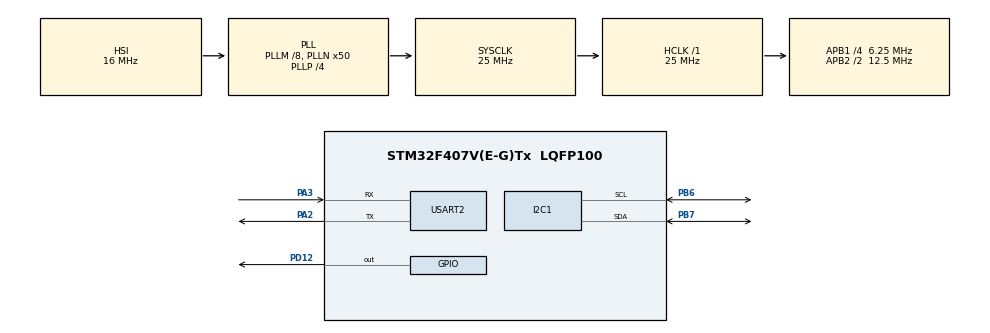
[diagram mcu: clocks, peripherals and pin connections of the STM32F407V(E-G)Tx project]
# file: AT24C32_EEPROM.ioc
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Mcu.Family=STM32F4
Mcu.Name=STM32F407V(E-G)Tx
Mcu.Package=LQFP100
NVIC.PriorityGroup=NVIC_PRIORITYGROUP_0
PA2.Mode=Asynchronous
PA2.Signal=USART2_TX
PA3.Mode=Asynchronous
PA3.Signal=USART2_RX
PB6.Mode=I2C
PB6.Signal=I2C1_SCL
PB7.Mode=I2C
PB7.Signal=I2C1_SDA
PD12.Signal=GPIO_Output
ProjectManager.HeapSize=0x200
ProjectManager.StackSize=0x400
ProjectManager.TargetToolchain=STM32CubeIDE
RCC.48MHZClocksFreq_Value=14285714.285714285
RCC.AHBFreq_Value=25000000
RCC.APB1CLKDivider=RCC_HCLK_DIV4
RCC.APB1Freq_Value=6250000
RCC.APB1TimFreq_Value=12500000
RCC.APB2CLKDivider=RCC_HCLK_DIV2
RCC.APB2Freq_Value=12500000
RCC.APB2TimFreq_Value=25000000
RCC.CortexFreq_Value=25000000
RCC.HCLKFreq_Value=25000000
RCC.HSE_VALUE=8000000
RCC.HSI_VALUE=16000000
RCC.LSE_VALUE=32768
RCC.PLLM=8
RCC.PLLN=50
RCC.PLLP=RCC_PLLP_DIV4
RCC.PLLQ=7
RCC.SYSCLKFreq_VALUE=25000000
RCC.SYSCLKSource=RCC_SYSCLKSOURCE_PLLCLK
RCC.VCOOutputFreq_Value=100000000
USART2.VirtualMode=VM_ASYNC
board=STM32F407G-DISC1

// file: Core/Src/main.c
/* USER CODE BEGIN Header */
/**
 ******************************************************************************
 * @file           : main.c
 * @brief          : Main program body
 ******************************************************************************
 * @attention
 *
 * Copyright (c) 2024 STMicroelectronics.
 * All rights reserved.
 *
 * This software is licensed under terms that can be found in the LICENSE file
 * in the root directory of this software component.
 * If no LICENSE file comes with this software, it is provided AS-IS.
 *
 ******************************************************************************
 */
/* USER CODE END Header */
#include "main.h"
#include <stdio.h>

/* USER CODE BEGIN PD */

uint16_t at24c32_eeprom_reg_addr = 0x00;
#define at24c32_eeprom_address  		(0x50 << 1)

/* USER CODE END PD */

I2C_HandleTypeDef hi2c1;

UART_HandleTypeDef huart2;
HAL_StatusTypeDef status;
/* USER CODE BEGIN PV */

uint8_t data = '*';
uint8_t received_data;

uint8_t write_data[] = "D-27/03/2024  T-12:09:08";
uint8_t read_data[33];

/* USER CODE END PV */

void SystemClock_Config(void);
static void MX_GPIO_Init(void);
static void MX_I2C1_Init(void);
static void MX_USART2_UART_Init(void);

/* USER CODE BEGIN 0 */
void at24c32_eeprom_single_byte_write(uint8_t data2) {
	uint8_t data[3];
	// Extract high byte
	data[0] = (at24c32_eeprom_reg_addr >> 8) & 0xFF; // High byte = 0x12
	// Extract low byte
	data[1] = at24c32_eeprom_reg_addr & 0xFF;        // Low byte = 0x34
	data[2] = data2;
	status = HAL_I2C_Master_Transmit(&hi2c1, at24c32_eeprom_address, data, 3,
	HAL_MAX_DELAY);
	if (status == HAL_OK) {
		printf("Successfully written the EEPROM memory\r\n\n");
	} else {
		printf("Error writing EEPROM memory..\r\n\n");
	}
}
/*-----------------------------------------------------------------------------------*/
void at24c32_eeprom_single_byte_read(uint16_t reg_addr) {
	uint8_t addr[2];

	// Extract high byte of the register address
	addr[0] = (reg_addr >> 8) & 0xFF;
	// Extract low byte of the register address
	addr[1] = reg_addr & 0xFF;

	// Transmit the register address to the EEPROM
	status = HAL_I2C_Master_Transmit(&hi2c1, at24c32_eeprom_address, addr, 2,
	HAL_MAX_DELAY);

	if (status == HAL_OK) {
		// Receive the data from the EEPROM
		status = HAL_I2C_Master_Receive(&hi2c1, at24c32_eeprom_address,
				&received_data, 1, HAL_MAX_DELAY);
		printf("Reading EEPROM memory..\r\n\n");
	} else {
		printf("Error reading EEPROM memory..\r\n");
	}
}
/*-----------------------------------------------------------------------------------*/
/* Write data to EEPROM */
void at24c32_eeprom_multi_byte_write(uint16_t mem_address, uint8_t *data,
		uint16_t size) {
	uint8_t addr[2];
	addr[0] = (mem_address >> 8) & 0xFF; // High byte
	addr[1] = mem_address & 0xFF;        // Low byte

	HAL_I2C_Mem_Write(&hi2c1, at24c32_eeprom_address,
			(uint16_t) ((addr[0] << 8) | addr[1]), I2C_MEMADD_SIZE_16BIT, data,
			size, HAL_MAX_DELAY);
}
/*-----------------------------------------------------------------------------------*/
/* Read data from EEPROM */
void at24c32_eeprom_multi_byte_read(uint16_t mem_address, uint8_t *data,
		uint16_t size) {
	uint8_t addr[2];
	addr[0] = (mem_address >> 8) & 0xFF; // High byte
	addr[1] = mem_address & 0xFF;        // Low byte

	HAL_I2C_Master_Transmit(&hi2c1, at24c32_eeprom_address, addr, sizeof(addr),
			HAL_MAX_DELAY);
	HAL_I2C_Master_Receive(&hi2c1, at24c32_eeprom_address, data, size,
			HAL_MAX_DELAY);
}
/*-----------------------------------------------------------------------------------*/

/* USER CODE END 0 */

int main(void) {

	/* MCU Configuration--------------------------------------------------------*/

	/* Reset of all peripherals, Initializes the Flash interface and the Systick. */
	HAL_Init();

	/* Configure the system clock */
	SystemClock_Config();

	/* Initialize all configured peripherals */
	MX_GPIO_Init();
	MX_I2C1_Init();
	MX_USART2_UART_Init();
	/* USER CODE BEGIN 2 */
//	at24c32_eeprom_single_byte_write(data);
//	HAL_Delay(10);
	//at24c32_eeprom_single_byte_read(at24c32_eeprom_reg_addr);
	//HAL_Delay(10);
	//printf("EEPROM data read: %c\r\n\n", received_data);

	at24c32_eeprom_multi_byte_write(0, write_data, sizeof(write_data) - 1); // -1 to exclude the null terminator
	// Delay to ensure write completion
	HAL_Delay(10);
	// Buffer to hold read data
	// Size should be enough to hold the data and null terminator
	at24c32_eeprom_multi_byte_read(0, read_data, sizeof(read_data) - 1); // -1 to exclude the null terminator
	// Null-terminate the read data
	read_data[sizeof(read_data) - 1] = '\0';
	// Print the read data
	printf("EEPROM data read: %s\r\n", read_data);
	/* USER CODE END 2 */

	/* Infinite loop */
	while (1) {

	}
}

void SystemClock_Config(void) {
	RCC_OscInitTypeDef RCC_OscInitStruct = { 0 };
	RCC_ClkInitTypeDef RCC_ClkInitStruct = { 0 };

	/** Configure the main internal regulator output voltage
	 */
	__HAL_RCC_PWR_CLK_ENABLE();
	__HAL_PWR_VOLTAGESCALING_CONFIG(PWR_REGULATOR_VOLTAGE_SCALE1);

	/** Initializes the RCC Oscillators according to the specified parameters
	 * in the RCC_OscInitTypeDef structure.
	 */
	RCC_OscInitStruct.OscillatorType = RCC_OSCILLATORTYPE_HSI;
	RCC_OscInitStruct.HSIState = RCC_HSI_ON;
	RCC_OscInitStruct.HSICalibrationValue = RCC_HSICALIBRATION_DEFAULT;
	RCC_OscInitStruct.PLL.PLLState = RCC_PLL_ON;
	RCC_OscInitStruct.PLL.PLLSource = RCC_PLLSOURCE_HSI;
	RCC_OscInitStruct.PLL.PLLM = 8;
	RCC_OscInitStruct.PLL.PLLN = 50;
	RCC_OscInitStruct.PLL.PLLP = RCC_PLLP_DIV4;
	RCC_OscInitStruct.PLL.PLLQ = 7;
	if (HAL_RCC_OscConfig(&RCC_OscInitStruct) != HAL_OK) {
		Error_Handler();
	}

	/** Initializes the CPU, AHB and APB buses clocks
	 */
	RCC_ClkInitStruct.ClockType = RCC_CLOCKTYPE_HCLK | RCC_CLOCKTYPE_SYSCLK
			| RCC_CLOCKTYPE_PCLK1 | RCC_CLOCKTYPE_PCLK2;
	RCC_ClkInitStruct.SYSCLKSource = RCC_SYSCLKSOURCE_PLLCLK;
	RCC_ClkInitStruct.AHBCLKDivider = RCC_SYSCLK_DIV1;
	RCC_ClkInitStruct.APB1CLKDivider = RCC_HCLK_DIV4;
	RCC_ClkInitStruct.APB2CLKDivider = RCC_HCLK_DIV2;

	if (HAL_RCC_ClockConfig(&RCC_ClkInitStruct, FLASH_LATENCY_0) != HAL_OK) {
		Error_Handler();
	}
}

static void MX_I2C1_Init(void) {

	hi2c1.Instance = I2C1;
	hi2c1.Init.ClockSpeed = 100000;
	hi2c1.Init.DutyCycle = I2C_DUTYCYCLE_2;
	hi2c1.Init.OwnAddress1 = 0;
	hi2c1.Init.AddressingMode = I2C_ADDRESSINGMODE_7BIT;
	hi2c1.Init.DualAddressMode = I2C_DUALADDRESS_DISABLE;
	hi2c1.Init.OwnAddress2 = 0;
	hi2c1.Init.GeneralCallMode = I2C_GENERALCALL_DISABLE;
	hi2c1.Init.NoStretchMode = I2C_NOSTRETCH_DISABLE;
	if (HAL_I2C_Init(&hi2c1) != HAL_OK) {
		Error_Handler();
	}

}

static void MX_USART2_UART_Init(void) {

	huart2.Instance = USART2;
	huart2.Init.BaudRate = 115200;
	huart2.Init.WordLength = UART_WORDLENGTH_8B;
	huart2.Init.StopBits = UART_STOPBITS_1;
	huart2.Init.Parity = UART_PARITY_NONE;
	huart2.Init.Mode = UART_MODE_TX_RX;
	huart2.Init.HwFlowCtl = UART_HWCONTROL_NONE;
	huart2.Init.OverSampling = UART_OVERSAMPLING_16;
	if (HAL_UART_Init(&huart2) != HAL_OK) {
		Error_Handler();
	}

}

static void MX_GPIO_Init(void) {
	GPIO_InitTypeDef GPIO_InitStruct = { 0 };

	/* GPIO Ports Clock Enable */
	__HAL_RCC_GPIOA_CLK_ENABLE();
	__HAL_RCC_GPIOD_CLK_ENABLE();
	__HAL_RCC_GPIOB_CLK_ENABLE();

	/*Configure GPIO pin Output Level */
	HAL_GPIO_WritePin(GPIOD, GPIO_PIN_12, GPIO_PIN_RESET);

	/*Configure GPIO pin : PD12 */
	GPIO_InitStruct.Pin = GPIO_PIN_12;
	GPIO_InitStruct.Mode = GPIO_MODE_OUTPUT_PP;
	GPIO_InitStruct.Pull = GPIO_NOPULL;
	GPIO_InitStruct.Speed = GPIO_SPEED_FREQ_LOW;
	HAL_GPIO_Init(GPIOD, &GPIO_InitStruct);

}

/* USER CODE BEGIN 4 */

#ifdef __GNUC__
/* With GCC, small printf (option LD Linker->Libraries->Small printf
 set to 'Yes') calls __io_putchar() */
int __io_putchar(int ch)
#else
int fputc(int ch, FILE *f)
#endif /* __GNUC__ */
{
	/* Place your implementation of fputc here */
	/* e.g. write a character to the UART3 and Loop until the end of transmission */

	//PB10 - TX
	//PB11 - RX
	//PA2  - TX
	//PA3  - RX
	HAL_UART_Transmit(&huart2, (uint8_t*) &ch, 1, HAL_MAX_DELAY);

	return ch;
}

/* USER CODE END 4 */

void Error_Handler(void) {
	__disable_irq();
	while (1) {
	}
}
